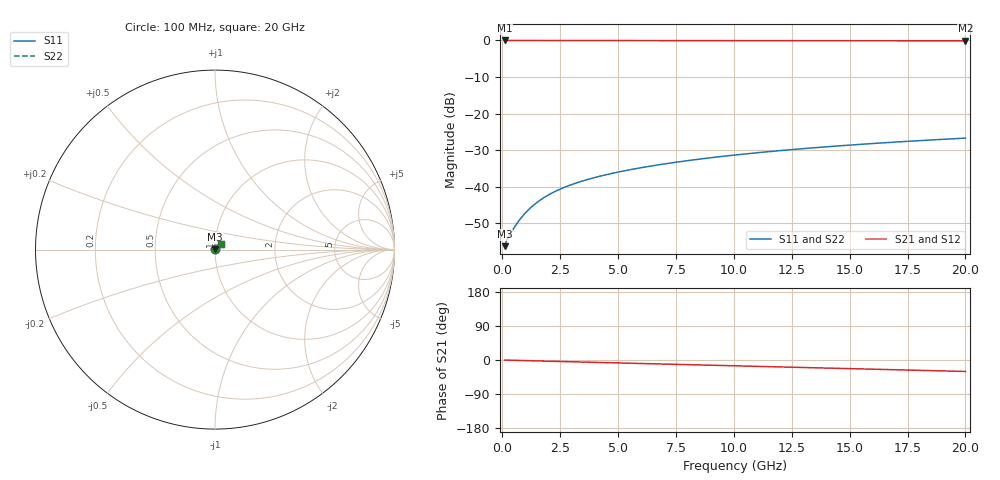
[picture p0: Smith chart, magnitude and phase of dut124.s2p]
! Touchstone file exported from HFSS 2026.1.0
!  File:  C:/ffzhzh/LocalFiles/Ansys_Project_Files/temp_train_BSMRDL_124_1782986087_42984.aedt
!  Generated:  05:56:02 PM Jul  2, 2026
!  Design:  BSMRDL
!  Project:  temp_train_BSMRDL_124_1782986087_42984
! Variables:
!  h_bsmrdl = 5.91um
!  h_ox = 20um
!  h_rdl = 5um
!  h_sub = 80um
!  h_tmrdl = 5um
!  h_tsv = 80um
!  h_via = 3um
!  l_bsmrdl = 531.26um
!  l_sub = 931.26um
!  l_tmrdl = 200um
!  m_sub = 200um
!  pitch = 36.87um
!  r_tsv = 6um
!  s_tmrdl = 10um
!  w_bsmrdl = 29.09um
!  w_sub = 500um
!  w_tmrdl = 12um
!  x_tsv_center1 = 206um
!  x_tsv_center2 = 766.35um
!  x_tsv_center3 = 978.35um
!  x_tsv_center4 = 1538.7um
!  x_tsv_center5 = 1750.7um
!  x_tsv_center6 = 2311.05um
# GHz S MA R 50.000000
! Terminal data exported
! Port[1] = BSM_RDL1_1_T1
! Port[2] = BSM_RDL1_1_T2
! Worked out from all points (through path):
!   200 points, 100 MHz to 20 GHz, reference 50 ohm
!   highest |S21| = -0.01 dB at 100 MHz (marker M1); lowest = -0.1 dB at 20 GHz (marker M2)
!   group delay of S21, straight-line fit = 4.19 ps
!   lowest |S11| = -56.2 dB at 100 MHz (marker M3), VSWR 1.00, Z = 50.1 + j0.0686 ohm
!   |S11| at or under -10 dB: start of sweep to end of sweep
!   |S22| runs from -56.2 to -26.7 dB; largest |S21 - S12| = 5e-15
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0.1  0.001547 26.2  0.9986 -0.2  0.9986 -0.2  0.001547 26.2
! Gamma 0 0 0 0
! Port Impedance 50 0 50 0
0.2  0.001887 32.8  0.9984 -0.3  0.9984 -0.3  0.001884 32.8
0.3  0.002152 38.8  0.9982 -0.5  0.9982 -0.5  0.002149 38.9
0.5  0.002728 48.7  0.9979 -0.8  0.9979 -0.8  0.002725 48.8
0.7  0.003377 55.1  0.9978 -1.1  0.9978 -1.1  0.003375 55.2
1  0.00441 60.3  0.9976 -1.6  0.9976 -1.6  0.00441 60.4
1.2  0.005106 62.2  0.9975 -1.9  0.9975 -1.9  0.005108 62.3
1.4  0.005796 63.3  0.9974 -2.2  0.9974 -2.2  0.005798 63.4
1.8  0.007134 64.4  0.9971 -2.8  0.9971 -2.8  0.007136 64.4
2.3  0.008711 64.6  0.9967 -3.6  0.9967 -3.6  0.008713 64.6
2.9  0.01047 64.2  0.9962 -4.5  0.9962 -4.5  0.01047 64.2
3.5  0.01211 63.7  0.9957 -5.5  0.9957 -5.5  0.01211 63.7
4.2  0.01392 63.1  0.9951 -6.5  0.9951 -6.5  0.01392 63.1
5  0.01589 62.5  0.9945 -7.8  0.9945 -7.8  0.01589 62.5
5.9  0.01803 61.7  0.9939 -9.1  0.9939 -9.1  0.01803 61.7
6.8  0.0201 60.9  0.9934 -10.5  0.9934 -10.5  0.0201 60.9
8.3  0.02345 59.5  0.9925 -12.7  0.9925 -12.7  0.02345 59.5
10.1  0.02732 57.7  0.9917 -15.4  0.9917 -15.4  0.02732 57.7
11.7  0.03064 56.0  0.9909 -17.8  0.9909 -17.8  0.03064 56.0
13.4  0.03406 54.1  0.9902 -20.4  0.9902 -20.4  0.03406 54.1
16.7  0.04038 50.1  0.9888 -25.3  0.9888 -25.3  0.04037 50.2
20  0.04625 46.0  0.9875 -30.3  0.9875 -30.3  0.04624 46.0
